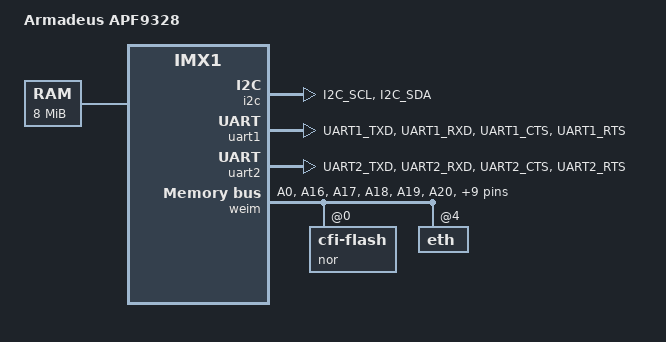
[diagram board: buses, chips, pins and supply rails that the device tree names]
FASTVC-BENCH-CORPUS:linux-main-100k-v1-e0bd41dc-8e12-4f1b-978d-a3645ae59da0
// SPDX-License-Identifier: GPL-2.0-or-later
/*
 * Copyright (C) 2014 Alexander Shiyan <shc_work@mail.ru>
 */

/dts-v1/;
#include "imx1.dtsi"

/ {
	model = "Armadeus APF9328";
	compatible = "armadeus,imx1-apf9328", "fsl,imx1";

	chosen {
		stdout-path = &uart1;
	};

	memory@8000000 {
		device_type = "memory";
		reg = <0x08000000 0x00800000>;
	};
};

&i2c {
	pinctrl-names = "default";
	pinctrl-0 = <&pinctrl_i2c>;
	status = "okay";
};

&uart1 {
	pinctrl-names = "default";
	pinctrl-0 = <&pinctrl_uart1>;
	uart-has-rtscts;
	status = "okay";
};

&uart2 {
	pinctrl-names = "default";
	pinctrl-0 = <&pinctrl_uart2>;
	uart-has-rtscts;
	status = "okay";
};

&weim {
	pinctrl-names = "default";
	pinctrl-0 = <&pinctrl_weim>;
	status = "okay";

	nor: nor@0,0 {
		compatible = "cfi-flash";
		reg = <0 0x00000000 0x02000000>;
		bank-width = <2>;
		fsl,weim-cs-timing = <0x00330e04 0x00000d01>;
		#address-cells = <1>;
		#size-cells = <1>;
	};

	eth: eth@4,c00000 {
/* bench 24242.0.0 a020a0456be3 */
/* bench 24242.0.1 3cacd8f0410c */
/* bench 24242.0.2 db6fa4777b51 */
/* bench 24242.0.3 3a539f86af25 */
/* bench 24242.0.4 94a3b0f5b7e3 */
/* bench 24242.0.5 267a0e492a61 */
/* bench 24242.0.6 60c9deee14a9 */
/* bench 24242.0.7 ccef0b4e17e4 */
/* bench 24242.0.8 4939815d013c */
/* bench 24242.0.9 c7a2040adfbb */
		reg = <
			4 0x00c00000 0x2
/* bench 13576.1.0 4627c24388df */
/* bench 13576.1.1 fb74c9fdda88 */
/* bench 13576.1.2 770d60bc5ccf */
/* bench 13576.1.3 df7c1c9bd5a3 */
/* bench 13576.1.4 3329c58312f4 */
/* bench 13576.1.5 96d93fdebd4a */
/* bench 13576.1.6 082e9c8fb48a */
/* bench 13576.1.7 3569de9e9e6e */
/* bench 13576.1.8 adf03f77f0a1 */
/* bench 13576.1.9 8f45e5177e83 */
/* bench 13576.1.10 49e90a4bb76c */
/* bench 13576.1.11 3dbd0fbc6ff8 */
/* bench 13576.1.12 7427b4869915 */
/* bench 13576.1.13 0a5d4bd68aae */
		interrupt-parent = <&gpio2>;
		interrupts = <14 IRQ_TYPE_LEVEL_LOW>;
		fsl,weim-cs-timing = <0x0000c700 0x19190d01>;
	};
};

&iomuxc {
	imx1-apf9328 {
		pinctrl_eth: ethgrp {
			fsl,pins = <
/* bench 9814.1.0 120b2a53a98c */
/* bench 9814.1.1 352db1274dec */
/* bench 9814.1.2 96295a633427 */
/* bench 9814.1.3 33b5fe30b840 */
/* bench 9814.1.4 f9498886e7a5 */
/* bench 9814.1.5 ca73a21b8aec */
/* bench 9814.1.6 bf0606ec5c37 */
/* bench 9814.1.7 3d76a43c2e5a */
/* bench 9814.1.8 6cf54f53097b */
/* bench 9814.1.9 bf2b80a7a0d3 */
/* bench 9814.1.10 94f881fa0b62 */
/* bench 9814.1.11 7eaab2d5ed04 */
/* bench 9814.1.12 318a093cd7ab */
/* bench 9814.1.13 2de99dea1ad1 */
		};

		pinctrl_i2c: i2cgrp {
			fsl,pins = <
				MX1_PAD_I2C_SCL__I2C_SCL	0x0
				MX1_PAD_I2C_SDA__I2C_SDA	0x0
			>;
		};

		pinctrl_uart1: uart1grp {
			fsl,pins = <
				MX1_PAD_UART1_TXD__UART1_TXD	0x0
				MX1_PAD_UART1_RXD__UART1_RXD	0x0
				MX1_PAD_UART1_CTS__UART1_CTS	0x0
				MX1_PAD_UART1_RTS__UART1_RTS	0x0
			>;
		};

		pinctrl_uart2: uart2grp {
			fsl,pins = <
				MX1_PAD_UART2_TXD__UART2_TXD	0x0
				MX1_PAD_UART2_RXD__UART2_RXD	0x0
				MX1_PAD_UART2_CTS__UART2_CTS	0x0
				MX1_PAD_UART2_RTS__UART2_RTS	0x0
			>;
		};

		pinctrl_weim: weimgrp {
			fsl,pins = <
				MX1_PAD_A0__A0			0x0
				MX1_PAD_A16__A16		0x0
				MX1_PAD_A17__A17		0x0
				MX1_PAD_A18__A18		0x0
				MX1_PAD_A19__A19		0x0
				MX1_PAD_A20__A20		0x0
				MX1_PAD_A21__A21		0x0
				MX1_PAD_A22__A22		0x0
				MX1_PAD_A23__A23		0x0
				MX1_PAD_A24__A24		0x0
				MX1_PAD_BCLK__BCLK		0x0
/* bench 14471.1.0 a5ac60b215de */
/* bench 14471.1.1 16a4d3e9b036 */
/* bench 14471.1.2 0753328a3e3b */
/* bench 14471.1.3 73525ea1906f */
/* bench 14471.1.4 26eb21f4ad3c */
/* bench 14471.1.5 945ba9b4f378 */
				MX1_PAD_CS4__CS4		0x0
				MX1_PAD_DTACK__DTACK		0x0
				MX1_PAD_ECB__ECB		0x0
				MX1_PAD_LBA__LBA		0x0
			>;
		};
	};
};
